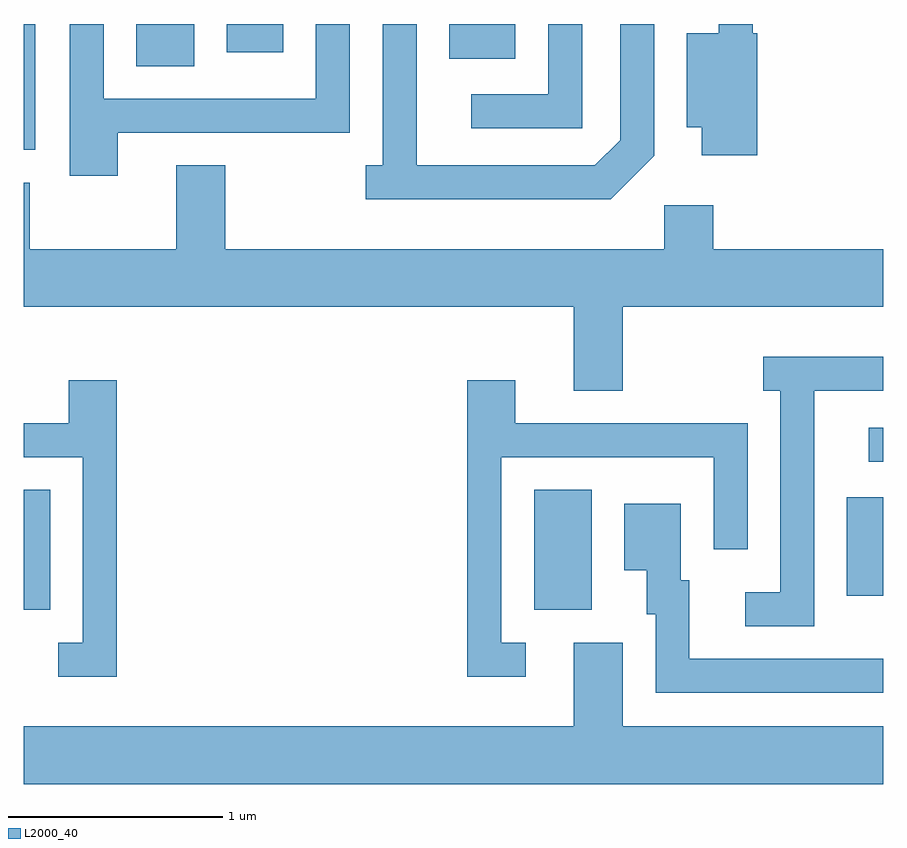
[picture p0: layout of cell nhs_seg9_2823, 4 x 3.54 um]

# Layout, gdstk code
import gdstk
lib = gdstk.Library(unit=1e-6, precision=1e-09)
def R(c, l, rs):  # rectangles x0, y0, x1, y1
    for r in rs: c.add(gdstk.rectangle(r[:2], r[2:], *l))
def P(c, l, *ps):  # polygons
    for p in ps: c.add(gdstk.Polygon(p, *l))
L2000_40 = (2000, 40)

nhs_seg9_2823 = lib.new_cell('nhs_seg9_2823')
R(nhs_seg9_2823, L2000_40, [(267.611,2023.706,267.734,2024.264), (269.986,2023.706,270.254,2024.264), (271.441,2023.771,271.611,2024.229), (271.543,2024.396,271.611,2024.554), (267.611,2025.846,267.664,2026.432), (268.136,2026.236,268.404,2026.432), (269.591,2026.271,269.899,2026.432), (268.556,2026.301,268.819,2026.432)])
P(nhs_seg9_2823, L2000_40, [(270.544,2025.819),(270.544,2026.432),(270.386,2026.432),(270.386,2025.892),(270.269,2025.774),(269.439,2025.774),(269.439,2026.432),(269.281,2026.432),(269.281,2025.774),(269.203,2025.774),(269.203,2025.616),(270.342,2025.616)],
  [(270.209,2026.432),(270.051,2026.432),(270.051,2026.104),(269.693,2026.104),(269.693,2025.946),(270.209,2025.946)],
  [(271.024,2026.389),(271.004,2026.389),(271.004,2026.432),(270.846,2026.432),(270.846,2026.389),(270.696,2026.389),(270.696,2025.951),(270.766,2025.951),(270.766,2025.821),(271.024,2025.821)],
  [(268.049,2025.926),(269.129,2025.926),(269.129,2026.432),(268.971,2026.432),(268.971,2026.084),(267.984,2026.084),(267.984,2026.432),(267.826,2026.432),(267.826,2025.726),(268.049,2025.726)],
  [(270.399,2025.116),(271.611,2025.116),(271.611,2025.384),(270.819,2025.384),(270.819,2025.589),(270.591,2025.589),(270.591,2025.384),(268.549,2025.384),(268.549,2025.774),(268.321,2025.774),(268.321,2025.384),(267.639,2025.384),(267.639,2025.694),(267.611,2025.694),(267.611,2025.116),(270.171,2025.116),(270.171,2024.726),(270.399,2024.726)],
  [(271.289,2024.726),(271.611,2024.726),(271.611,2024.884),(271.053,2024.884),(271.053,2024.726),(271.131,2024.726),(271.131,2023.789),(270.968,2023.789),(270.968,2023.631),(271.289,2023.631)],
  [(269.948,2023.554),(269.834,2023.554),(269.834,2024.416),(270.821,2024.416),(270.821,2023.988),(270.979,2023.988),(270.979,2024.574),(269.899,2024.574),(269.899,2024.774),(269.676,2024.774),(269.676,2023.396),(269.948,2023.396)],
  [(268.044,2024.774),(267.821,2024.774),(267.821,2024.574),(267.611,2024.574),(267.611,2024.416),(267.886,2024.416),(267.886,2023.554),(267.773,2023.554),(267.773,2023.396),(268.044,2023.396)],
  [(271.611,2023.479),(270.709,2023.479),(270.709,2023.844),(270.669,2023.844),(270.669,2024.199),(270.406,2024.199),(270.406,2023.891),(270.511,2023.891),(270.511,2023.686),(270.551,2023.686),(270.551,2023.321),(271.611,2023.321)],
  [(271.611,2023.164),(270.399,2023.164),(270.399,2023.554),(270.171,2023.554),(270.171,2023.164),(267.611,2023.164),(267.611,2022.896),(271.611,2022.896)])

lib.write_gds('nhs_seg9_2823.gds')
